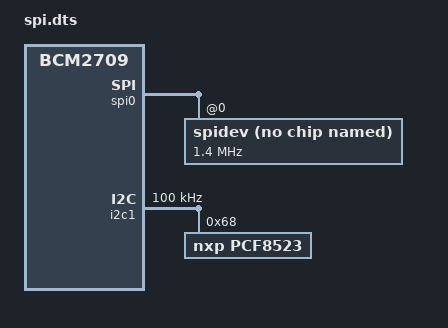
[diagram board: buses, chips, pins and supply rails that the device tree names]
/dts-v1/;
/plugin/;

/ {
	compatible = "brcm,bcm2835", "brcm,bcm2836", "brcm,bcm2708", "brcm,bcm2709";

	fragment@0
	{
		target = <&spi0>;
		__overlay__
		{
			status = "okay";
			pinctrl-0 = <&spi0_pins>;
			cs-gpios = <&gpio 8 1>;
  
			spidev@0
			{
				status = "okay";
				compatible = "spidev";
				spi-max-frequency = <1400000>;
			};

			spidev@1
			{
				status = "disabled";
			};
		};
	};

	fragment@1
	{
		target = <&i2c1>;
		__overlay__
		{
			#address-cells = <1>; /* needed to avoid dtc warning */
			#size-cells = <0>; /* needed to avoid dtc warning */
			pinctrl-names = "default";
			pinctrl-0 = <&i2c1_pins>;
			clock-frequency = <100000>;
			status = "okay";

			pcf8523@68 {
				compatible = "nxp,pcf8523";
				reg = <0x68>;
				status = "okay";
			};
		};
	};

	fragment@2 {
		target = <&gpio>;
		frag1: __overlay__ {
			spi0_cs_pins: spi0_cs_pins {
				brcm,pins = <8>;
				brcm,function = <1>;
			};
		};
	};
};
